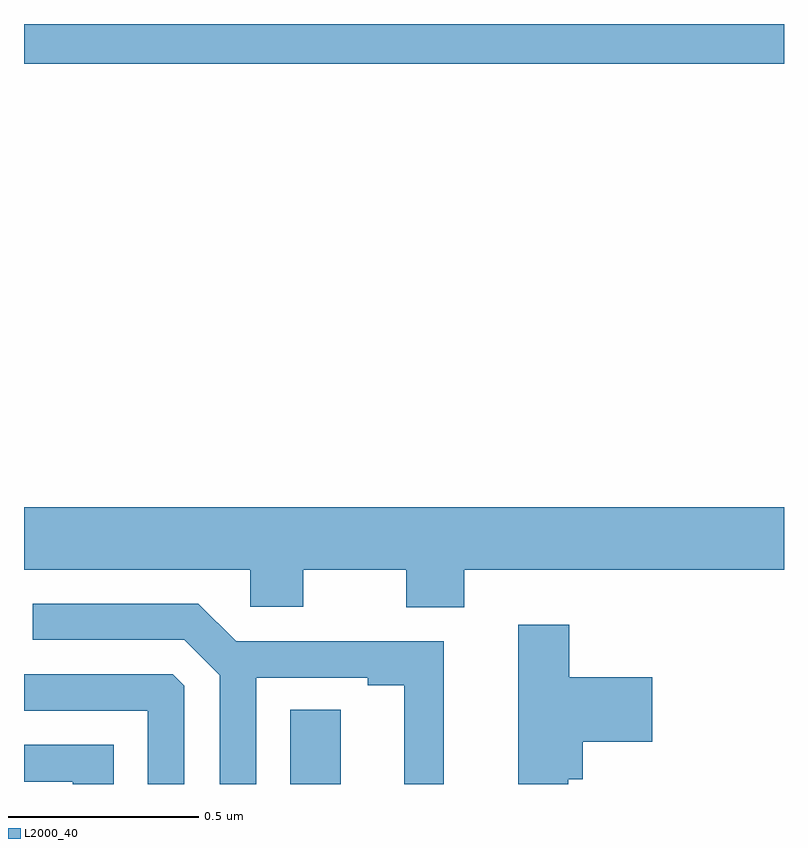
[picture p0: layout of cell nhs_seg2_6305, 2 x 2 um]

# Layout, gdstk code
import gdstk
lib = gdstk.Library(unit=1e-6, precision=1e-09)
def R(c, l, rs):  # rectangles x0, y0, x1, y1
    for r in rs: c.add(gdstk.rectangle(r[:2], r[2:], *l))
def P(c, l, *ps):  # polygons
    for p in ps: c.add(gdstk.Polygon(p, *l))
L2000_40 = (2000, 40)

nhs_seg2_6305 = lib.new_cell('nhs_seg2_6305')
R(nhs_seg2_6305, L2000_40, [(190.7,585.8,190.834,585.995), (190,587.696,192,587.8)])
P(nhs_seg2_6305, L2000_40, [(191.159,586.364),(192,586.364),(192,586.528),(190,586.528),(190,586.364),(190.596,586.364),(190.596,586.266),(190.735,586.266),(190.735,586.364),(191.006,586.364),(191.006,586.265),(191.159,586.265)],
  [(190.611,586.08),(190.904,586.08),(190.904,586.06),(191,586.06),(191,585.8),(191.104,585.8),(191.104,586.176),(190.558,586.176),(190.459,586.275),(190.023,586.275),(190.023,586.179),(190.422,586.179),(190.515,586.086),(190.515,585.8),(190.611,585.8)],
  [(191.432,585.812),(191.471,585.812),(191.471,585.911),(191.653,585.911),(191.653,586.081),(191.435,586.081),(191.435,586.219),(191.3,586.219),(191.3,585.8),(191.432,585.8)],
  [(190.422,586.059),(190.392,586.089),(190,586.089),(190,585.993),(190.326,585.993),(190.326,585.8),(190.422,585.8)],
  [(190.236,585.903),(190,585.903),(190,585.806),(190.128,585.806),(190.128,585.8),(190.236,585.8)])

lib.write_gds('nhs_seg2_6305.gds')
